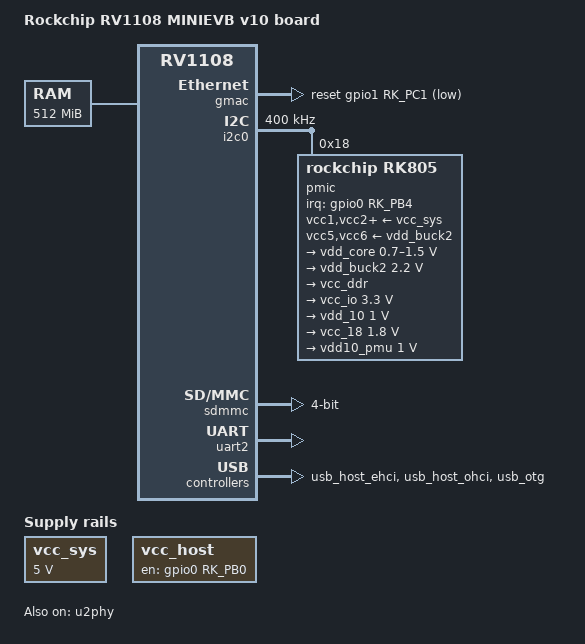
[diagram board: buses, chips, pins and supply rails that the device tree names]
// SPDX-License-Identifier: (GPL-2.0+ OR MIT)

/dts-v1/;

#include "rv1108.dtsi"

/ {
	model = "Rockchip RV1108 MINIEVB v10 board";
	compatible = "rockchip,rv1108-minievb-v10", "rockchip,rv1108";

	memory@60000000 {
		device_type = "memory";
		reg = <0x60000000 0x20000000>;
	};

	chosen {
		stdout-path = "serial2:1500000n8";
	};

	vcc_sys: vsys-regulator {
		compatible = "regulator-fixed";
		regulator-name = "vsys";
		regulator-min-microvolt = <5000000>;
		regulator-max-microvolt = <5000000>;
		regulator-boot-on;
	};

	vcc_host: vcc-host-regulator {
		compatible = "regulator-fixed";
		gpio = <&gpio0 RK_PB0 GPIO_ACTIVE_HIGH>;
		enable-active-high;
		pinctrl-names = "default";
		pinctrl-0 = <&host_vbus_drv>;
		regulator-name = "vcc_host";
		regulator-always-on;
	};

};

&cpu0 {
	/delete-property/dynamic-power-coefficient;
	/delete-property/operating-points-v2;
};

&gmac {
	clock_in_out = "output";
	pinctrl-names = "default";
	pinctrl-0 = <&rmii_pins>;
	snps,reset-gpio = <&gpio1 RK_PC1 GPIO_ACTIVE_LOW>;
	snps,reset-delays-us = <0 10000 1000000>;
	snps,reset-active-low;
	status = "okay";
};

&i2c0 {
	status = "okay";
	i2c-scl-rising-time-ns = <275>;
	i2c-scl-falling-time-ns = <16>;
	clock-frequency = <400000>;

	pmic@18 {
		compatible = "rockchip,rk805";
		reg = <0x18>;
		interrupt-parent = <&gpio0>;
		interrupts = <RK_PB4 IRQ_TYPE_LEVEL_LOW>;
		rockchip,system-power-controller;

		vcc1-supply = <&vcc_sys>;
		vcc2-supply = <&vcc_sys>;
		vcc3-supply = <&vcc_sys>;
		vcc4-supply = <&vcc_sys>;
		vcc5-supply = <&vdd_buck2>;
		vcc6-supply = <&vdd_buck2>;

		regulators {
			vdd_core: DCDC_REG1 {
				regulator-name= "vdd_core";
				regulator-min-microvolt = <700000>;
				regulator-max-microvolt = <1500000>;
				regulator-always-on;
				regulator-boot-on;
				regulator-state-mem {
					regulator-on-in-suspend;
					regulator-suspend-microvolt = <900000>;
				};
			};

			vdd_buck2: DCDC_REG2 {
				regulator-name= "vdd_buck2";
				regulator-min-microvolt = <2200000>;
				regulator-max-microvolt = <2200000>;
				regulator-always-on;
				regulator-boot-on;
				regulator-state-mem {
					regulator-off-in-suspend;
				};
			};

			vcc_ddr: DCDC_REG3 {
				regulator-name= "vcc_ddr";
				regulator-always-on;
				regulator-boot-on;
				regulator-state-mem {
					regulator-on-in-suspend;
				};
			};

			vcc_io: DCDC_REG4 {
				regulator-name= "vcc_io";
				regulator-min-microvolt = <3300000>;
				regulator-max-microvolt = <3300000>;
				regulator-always-on;
				regulator-boot-on;
				regulator-state-mem {
					regulator-on-in-suspend;
					regulator-suspend-microvolt = <3300000>;
				};
			};

			vdd_10: LDO_REG1 {
				regulator-name= "vdd_10";
				regulator-min-microvolt = <1000000>;
				regulator-max-microvolt = <1000000>;
				regulator-always-on;
				regulator-boot-on;
				regulator-state-mem {
					regulator-off-in-suspend;
				};
			};

			vcc_18: LDO_REG2 {
				regulator-name= "vcc_18";
				regulator-min-microvolt = <1800000>;
				regulator-max-microvolt = <1800000>;
				regulator-always-on;
				regulator-boot-on;
				regulator-state-mem {
					regulator-off-in-suspend;
				};
			};

			vdd10_pmu: LDO_REG3 {
				regulator-name= "vdd10_pmu";
				regulator-min-microvolt = <1000000>;
				regulator-max-microvolt = <1000000>;
				regulator-always-on;
				regulator-boot-on;
				regulator-state-mem {
					regulator-on-in-suspend;
					regulator-suspend-microvolt = <1000000>;
				};
			};
		};
	};
};

&sdmmc {
	pinctrl-names = "default";
	pinctrl-0 = <&sdmmc_clk &sdmmc_cmd &sdmmc_cd &sdmmc_bus4>;
	bus-width = <4>;
	cap-sd-highspeed;
	disable-wp;
	status = "okay";
};

&u2phy {
	status = "okay";

	u2phy_host: host-port {
		status = "okay";
	};

	u2phy_otg: otg-port {
		status = "okay";
	};
};

&uart2 {
	status = "okay";
};

&usb_host_ehci {
	status = "okay";
};

&usb_host_ohci {
	status = "okay";
};

&usb_otg {
	status = "okay";
};

&pinctrl {
	usb {
		host_vbus_drv: host-vbus-drv {
			rockchip,pins = <0 RK_PB0 RK_FUNC_GPIO &pcfg_pull_none>;
		};
	};
};
